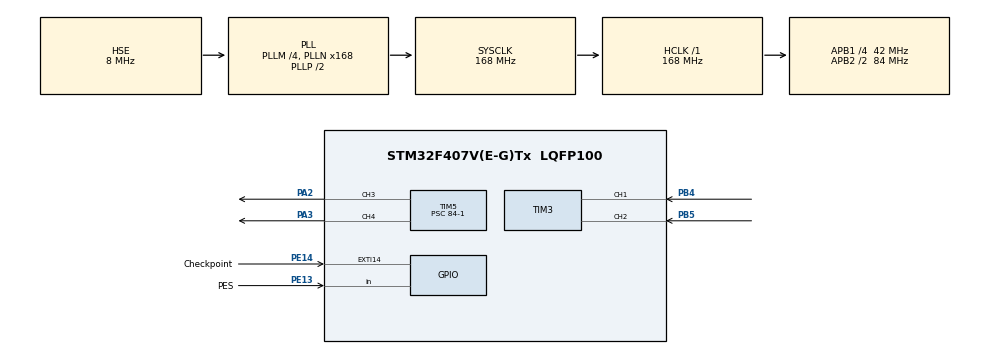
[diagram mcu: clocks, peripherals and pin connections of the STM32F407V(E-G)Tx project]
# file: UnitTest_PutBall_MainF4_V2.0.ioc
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FREERTOS.Tasks01=logicTask,1,128,StartLogicTask,Default,NULL,Dynamic,NULL,NULL
FREERTOS.configUSE_NEWLIB_REENTRANT=1
Mcu.Family=STM32F4
Mcu.Name=STM32F407V(E-G)Tx
Mcu.Package=LQFP100
NVIC.EXTI15_10_IRQn=true\:5\:0\:false\:false\:true\:true\:true\:true\:true
NVIC.PriorityGroup=NVIC_PRIORITYGROUP_4
NVIC.TIM3_IRQn=true\:5\:0\:false\:false\:true\:true\:true\:true\:true
NVIC.TIM8_TRG_COM_TIM14_IRQn=true\:15\:0\:false\:false\:true\:false\:false\:true\:true
NVIC.TimeBase=TIM8_TRG_COM_TIM14_IRQn
NVIC.TimeBaseIP=TIM14
PA13.Mode=Serial_Wire
PA13.Signal=SYS_JTMS-SWDIO
PA14.Mode=Serial_Wire
PA14.Signal=SYS_JTCK-SWCLK
PA2.Signal=S_TIM5_CH3
PA3.Signal=S_TIM5_CH4
PB4.Signal=S_TIM3_CH1
PB5.Signal=S_TIM3_CH2
PE13.GPIO_Label=PES
PE13.GPIO_PuPd=GPIO_PULLUP
PE13.Signal=GPIO_Input
PE14.GPIO_Label=Checkpoint
PE14.GPIO_PuPd=GPIO_PULLUP
PE14.Signal=GPXTI14
PH0-OSC_IN.Mode=HSE-External-Oscillator
PH0-OSC_IN.Signal=RCC_OSC_IN
PH1-OSC_OUT.Mode=HSE-External-Oscillator
PH1-OSC_OUT.Signal=RCC_OSC_OUT
ProjectManager.HeapSize=0x200
ProjectManager.StackSize=0x400
ProjectManager.TargetToolchain=STM32CubeIDE
RCC.48MHZClocksFreq_Value=84000000
RCC.AHBFreq_Value=168000000
RCC.APB1CLKDivider=RCC_HCLK_DIV4
RCC.APB1Freq_Value=42000000
RCC.APB1TimFreq_Value=84000000
RCC.APB2CLKDivider=RCC_HCLK_DIV2
RCC.APB2Freq_Value=84000000
RCC.APB2TimFreq_Value=168000000
RCC.CortexFreq_Value=168000000
RCC.HCLKFreq_Value=168000000
RCC.HSE_VALUE=8000000
RCC.HSI_VALUE=16000000
RCC.LSE_VALUE=32768
RCC.PLLM=4
RCC.PLLN=168
RCC.PLLSourceVirtual=RCC_PLLSOURCE_HSE
RCC.SYSCLKFreq_VALUE=168000000
RCC.SYSCLKSource=RCC_SYSCLKSOURCE_PLLCLK
RCC.VCOOutputFreq_Value=336000000
SH.S_TIM3_CH1.0=TIM3_CH1,Encoder_Interface
SH.S_TIM3_CH2.0=TIM3_CH2,Encoder_Interface
SH.S_TIM5_CH3.0=TIM5_CH3,PWM Generation3 CH3
SH.S_TIM5_CH4.0=TIM5_CH4,PWM Generation4 CH4
TIM3.EncoderMode=TIM_ENCODERMODE_TI12
TIM5.Channel-PWM\ Generation3\ CH3=TIM_CHANNEL_3
TIM5.Channel-PWM\ Generation4\ CH4=TIM_CHANNEL_4
TIM5.Period=1000-1
TIM5.Prescaler=84-1
VP_FREERTOS_VS_CMSIS_V1.Mode=CMSIS_V1
VP_SYS_VS_tim14.Mode=TIM14
VP_TIM5_VS_ClockSourceINT.Mode=Internal
board=custom

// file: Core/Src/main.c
/* USER CODE BEGIN Header */
/**
  ******************************************************************************
  * @file           : main.c
  * @brief          : Main program body
  ******************************************************************************
  * @attention
  *
  * Copyright (c) 2024 STMicroelectronics.
  * All rights reserved.
  *
  * This software is licensed under terms that can be found in the LICENSE file
  * in the root directory of this software component.
  * If no LICENSE file comes with this software, it is provided AS-IS.
  *
  ******************************************************************************
  */
/* USER CODE END Header */
#include "main.h"
#include "cmsis_os.h"

/* USER CODE BEGIN Includes */
#include "DriveMotor.h"
#include "Accel.h"
#include "Encoder.h"
#include "stdlib.h"
/* USER CODE END Includes */

/* USER CODE BEGIN PM */
#define AwaitSetHomeTime 200
#define SetHomeSpeed 250
#define SetHomeAccelTime 1

#define BrakeSpeed 0
#define BrakeAccelTime 3
#define BrakeCheckpointTime 0.01

#define BallDetectTime 2000

#define HoldBallSpeed -150
#define HoldBallAccelTime 1

#define AwaitWallDetectTime 5000

#define PutBallSpeed -300
#define PutBallAccelTime 1
/* USER CODE END PM */

TIM_HandleTypeDef htim3;
TIM_HandleTypeDef htim5;

osThreadId logicTaskHandle;
/* USER CODE BEGIN PV */
uint8_t Checkpoint_Founded = 0;
uint8_t BallStatus;
uint16_t detect_cnt = 0;
uint16_t manual_sethome_cnt = 0;
int16_t PWM;
int16_t Target_PWM;
uint16_t Target_Time;
uint8_t Ball_Detected = 0;
uint8_t RunCase = 0;
uint16_t checkpoint_cnt = 0;
uint8_t checkpoint_status;

MotorDrive DC;
Accel_Param Accel_DC;
EncoderRead ENC_DC;
/* USER CODE END PV */

void SystemClock_Config(void);
static void MX_GPIO_Init(void);
static void MX_TIM5_Init(void);
static void MX_TIM3_Init(void);
void StartLogicTask(void const * argument);

/* USER CODE BEGIN 0 */
void Manual_SetHome()
{
	// at the begin, the position of the ball's pedestal isn't correct
	// the pedestal will be rolling down until press the bottom limit switch of the structure
	if(!Checkpoint_Founded)
	{
		if(manual_sethome_cnt != AwaitSetHomeTime)
		{
			Target_PWM = SetHomeSpeed;
			Target_Time = SetHomeAccelTime;
			manual_sethome_cnt++;
			osDelay(10);
		}
		else
		{
			Target_PWM = BrakeSpeed;
			Target_Time = BrakeAccelTime;
			osDelay(10);
		}
		Accel_Cal(&Accel_DC, Target_PWM, Target_Time);
		DC_Drive_BTS(&DC, &htim5, 1000, Accel_DC.vel_controller, TIM_CHANNEL_3, TIM_CHANNEL_4);
		if(Accel_DC.vel_controller == 0)
		{
		// when set home successfully, reset the encoder counter for the next using
			ResetCount(&ENC_DC, 1);
		// turn flag here
			Checkpoint_Founded = 1;
		}
	}
	else
	{
			RunCase = 1;
	}
}

void Detect_Ball()
{
	BallStatus = HAL_GPIO_ReadPin(PES_GPIO_Port, PES_Pin);
	if(BallStatus)
	{
		while(detect_cnt != BallDetectTime)
		{
			detect_cnt++;
			osDelay(1);
		}
	}
	if(detect_cnt == BallDetectTime) RunCase = 2;
}

void HoldBallToCheckpoint()
{
	// from home to checkpoint
	checkpoint_status = HAL_GPIO_ReadPin(Checkpoint_GPIO_Port, Checkpoint_Pin);
	if(!checkpoint_status)
	{
		Target_Time = 1;
		Target_PWM = -150;
		Accel_Cal(&Accel_DC, Target_PWM, Target_Time);
		DC_Drive_BTS(&DC, &htim5, 1000, Accel_DC.vel_controller, TIM_CHANNEL_3, TIM_CHANNEL_4);
		osDelay(10);
	}
	if(checkpoint_status)
	{
		Target_PWM = BrakeSpeed;
		Target_Time = BrakeCheckpointTime;
		Accel_Cal(&Accel_DC, Target_PWM, Target_Time);
		DC_Drive_BTS(&DC, &htim5, 1000, Accel_DC.vel_controller, TIM_CHANNEL_3, TIM_CHANNEL_4);
		osDelay(10);
	}
	if(Accel_DC.vel_controller == 0)
	{
		RunCase = 3;
	}
}

void StopAndResetParams()
{
	if(HAL_GPIO_ReadPin(Checkpoint_GPIO_Port, Checkpoint_Pin))
	{
		while(checkpoint_cnt != AwaitWallDetectTime)
		{
			checkpoint_cnt++;
			osDelay(1);
		}
		ResetCount(&ENC_DC, 1);
		RunCase = 4;
	}
}

void PutBallToSilo()
{
	// the sensor which is set on the robot will detect the wall
	// if not using the sensor, using delay
	Target_PWM = PutBallSpeed;
	Target_Time = PutBallAccelTime;
	osDelay(10);
	Accel_Cal(&Accel_DC, Target_PWM, Target_Time);
	DC_Drive_BTS(&DC, &htim5, 1000, Accel_DC.vel_controller, TIM_CHANNEL_3, TIM_CHANNEL_4);
	BallStatus = HAL_GPIO_ReadPin(PES_GPIO_Port, PES_Pin);
	if(!BallStatus)
	{
		while(detect_cnt != 0)
		{
			detect_cnt--;
			osDelay(1);
		}
		if(detect_cnt == 0)
		{
			manual_sethome_cnt = 0;
			detect_cnt = 0;
			checkpoint_cnt = 0;
			Checkpoint_Founded = 0;
			RunCase = 0;
		}
	}
}
/* USER CODE END 0 */

int main(void)
{

  /* MCU Configuration--------------------------------------------------------*/

  /* Reset of all peripherals, Initializes the Flash interface and the Systick. */
  HAL_Init();

  /* Configure the system clock */
  SystemClock_Config();

  /* Initialize all configured peripherals */
  MX_GPIO_Init();
  MX_TIM5_Init();
  MX_TIM3_Init();
  /* USER CODE BEGIN 2 */
  HAL_TIM_PWM_Start(&htim5, TIM_CHANNEL_3);
  HAL_TIM_PWM_Start(&htim5, TIM_CHANNEL_4);

  HAL_TIM_Encoder_Start_IT(&htim3, TIM_CHANNEL_ALL);
  EncoderSetting(&ENC_DC, &htim3, 19200, 0.001);
  /* USER CODE END 2 */

  /* Create the thread(s) */
  /* definition and creation of logicTask */
  osThreadDef(logicTask, StartLogicTask, osPriorityAboveNormal, 0, 128);
  logicTaskHandle = osThreadCreate(osThread(logicTask), NULL);

  /* Start scheduler */
  osKernelStart();

  /* We should never get here as control is now taken by the scheduler */
  /* Infinite loop */
  while (1)
  {

  }
}

void SystemClock_Config(void)
{
  RCC_OscInitTypeDef RCC_OscInitStruct = {0};
  RCC_ClkInitTypeDef RCC_ClkInitStruct = {0};

  /** Configure the main internal regulator output voltage
  */
  __HAL_RCC_PWR_CLK_ENABLE();
  __HAL_PWR_VOLTAGESCALING_CONFIG(PWR_REGULATOR_VOLTAGE_SCALE1);

  /** Initializes the RCC Oscillators according to the specified parameters
  * in the RCC_OscInitTypeDef structure.
  */
  RCC_OscInitStruct.OscillatorType = RCC_OSCILLATORTYPE_HSE;
  RCC_OscInitStruct.HSEState = RCC_HSE_ON;
  RCC_OscInitStruct.PLL.PLLState = RCC_PLL_ON;
  RCC_OscInitStruct.PLL.PLLSource = RCC_PLLSOURCE_HSE;
  RCC_OscInitStruct.PLL.PLLM = 4;
  RCC_OscInitStruct.PLL.PLLN = 168;
  RCC_OscInitStruct.PLL.PLLP = RCC_PLLP_DIV2;
  RCC_OscInitStruct.PLL.PLLQ = 4;
  if (HAL_RCC_OscConfig(&RCC_OscInitStruct) != HAL_OK)
  {
    Error_Handler();
  }

  /** Initializes the CPU, AHB and APB buses clocks
  */
  RCC_ClkInitStruct.ClockType = RCC_CLOCKTYPE_HCLK|RCC_CLOCKTYPE_SYSCLK
                              |RCC_CLOCKTYPE_PCLK1|RCC_CLOCKTYPE_PCLK2;
  RCC_ClkInitStruct.SYSCLKSource = RCC_SYSCLKSOURCE_PLLCLK;
  RCC_ClkInitStruct.AHBCLKDivider = RCC_SYSCLK_DIV1;
  RCC_ClkInitStruct.APB1CLKDivider = RCC_HCLK_DIV4;
  RCC_ClkInitStruct.APB2CLKDivider = RCC_HCLK_DIV2;

  if (HAL_RCC_ClockConfig(&RCC_ClkInitStruct, FLASH_LATENCY_5) != HAL_OK)
  {
    Error_Handler();
  }
}

static void MX_TIM3_Init(void)
{

  TIM_Encoder_InitTypeDef sConfig = {0};
  TIM_MasterConfigTypeDef sMasterConfig = {0};

  htim3.Instance = TIM3;
  htim3.Init.Prescaler = 0;
  htim3.Init.CounterMode = TIM_COUNTERMODE_UP;
  htim3.Init.Period = 65535;
  htim3.Init.ClockDivision = TIM_CLOCKDIVISION_DIV1;
  htim3.Init.AutoReloadPreload = TIM_AUTORELOAD_PRELOAD_DISABLE;
  sConfig.EncoderMode = TIM_ENCODERMODE_TI12;
  sConfig.IC1Polarity = TIM_ICPOLARITY_RISING;
  sConfig.IC1Selection = TIM_ICSELECTION_DIRECTTI;
  sConfig.IC1Prescaler = TIM_ICPSC_DIV1;
  sConfig.IC1Filter = 0;
  sConfig.IC2Polarity = TIM_ICPOLARITY_RISING;
  sConfig.IC2Selection = TIM_ICSELECTION_DIRECTTI;
  sConfig.IC2Prescaler = TIM_ICPSC_DIV1;
  sConfig.IC2Filter = 0;
  if (HAL_TIM_Encoder_Init(&htim3, &sConfig) != HAL_OK)
  {
    Error_Handler();
  }
  sMasterConfig.MasterOutputTrigger = TIM_TRGO_RESET;
  sMasterConfig.MasterSlaveMode = TIM_MASTERSLAVEMODE_DISABLE;
  if (HAL_TIMEx_MasterConfigSynchronization(&htim3, &sMasterConfig) != HAL_OK)
  {
    Error_Handler();
  }

}

static void MX_TIM5_Init(void)
{

  TIM_ClockConfigTypeDef sClockSourceConfig = {0};
  TIM_MasterConfigTypeDef sMasterConfig = {0};
  TIM_OC_InitTypeDef sConfigOC = {0};

  htim5.Instance = TIM5;
  htim5.Init.Prescaler = 84-1;
  htim5.Init.CounterMode = TIM_COUNTERMODE_UP;
  htim5.Init.Period = 1000-1;
  htim5.Init.ClockDivision = TIM_CLOCKDIVISION_DIV1;
  htim5.Init.AutoReloadPreload = TIM_AUTORELOAD_PRELOAD_DISABLE;
  if (HAL_TIM_Base_Init(&htim5) != HAL_OK)
  {
    Error_Handler();
  }
  sClockSourceConfig.ClockSource = TIM_CLOCKSOURCE_INTERNAL;
  if (HAL_TIM_ConfigClockSource(&htim5, &sClockSourceConfig) != HAL_OK)
  {
    Error_Handler();
  }
  if (HAL_TIM_PWM_Init(&htim5) != HAL_OK)
  {
    Error_Handler();
  }
  sMasterConfig.MasterOutputTrigger = TIM_TRGO_RESET;
  sMasterConfig.MasterSlaveMode = TIM_MASTERSLAVEMODE_DISABLE;
  if (HAL_TIMEx_MasterConfigSynchronization(&htim5, &sMasterConfig) != HAL_OK)
  {
    Error_Handler();
  }
  sConfigOC.OCMode = TIM_OCMODE_PWM1;
  sConfigOC.Pulse = 0;
  sConfigOC.OCPolarity = TIM_OCPOLARITY_HIGH;
  sConfigOC.OCFastMode = TIM_OCFAST_DISABLE;
  if (HAL_TIM_PWM_ConfigChannel(&htim5, &sConfigOC, TIM_CHANNEL_3) != HAL_OK)
  {
    Error_Handler();
  }
  if (HAL_TIM_PWM_ConfigChannel(&htim5, &sConfigOC, TIM_CHANNEL_4) != HAL_OK)
  {
    Error_Handler();
  }
  HAL_TIM_MspPostInit(&htim5);

}

static void MX_GPIO_Init(void)
{
  GPIO_InitTypeDef GPIO_InitStruct = {0};

  /* GPIO Ports Clock Enable */
  __HAL_RCC_GPIOH_CLK_ENABLE();
  __HAL_RCC_GPIOA_CLK_ENABLE();
  __HAL_RCC_GPIOE_CLK_ENABLE();
  __HAL_RCC_GPIOB_CLK_ENABLE();

  /*Configure GPIO pin : PES_Pin */
  GPIO_InitStruct.Pin = PES_Pin;
  GPIO_InitStruct.Mode = GPIO_MODE_INPUT;
  GPIO_InitStruct.Pull = GPIO_PULLUP;
  HAL_GPIO_Init(PES_GPIO_Port, &GPIO_InitStruct);

  /*Configure GPIO pin : Checkpoint_Pin */
  GPIO_InitStruct.Pin = Checkpoint_Pin;
  GPIO_InitStruct.Mode = GPIO_MODE_IT_RISING;
  GPIO_InitStruct.Pull = GPIO_PULLUP;
  HAL_GPIO_Init(Checkpoint_GPIO_Port, &GPIO_InitStruct);

  /* EXTI interrupt init*/
  HAL_NVIC_SetPriority(EXTI15_10_IRQn, 5, 0);
  HAL_NVIC_EnableIRQ(EXTI15_10_IRQn);

}

void StartLogicTask(void const * argument)
{
  /* USER CODE BEGIN 5 */
  /* Infinite loop */
  for(;;)
  {
	switch(RunCase)
	{
		case 1:
			Detect_Ball();
			break;
		case 2:
			HoldBallToCheckpoint();
			break;
		case 3:
			StopAndResetParams();
			break;
		case 4:
			PutBallToSilo();
			break;
		default:
			Manual_SetHome();
			break;
	}
	osDelay(1);
  }
  /* USER CODE END 5 */
}

void HAL_TIM_PeriodElapsedCallback(TIM_HandleTypeDef *htim)
{
  if (htim->Instance == TIM14) {
    HAL_IncTick();
  }
}

void Error_Handler(void)
{
  __disable_irq();
  while (1)
  {
  }
}
